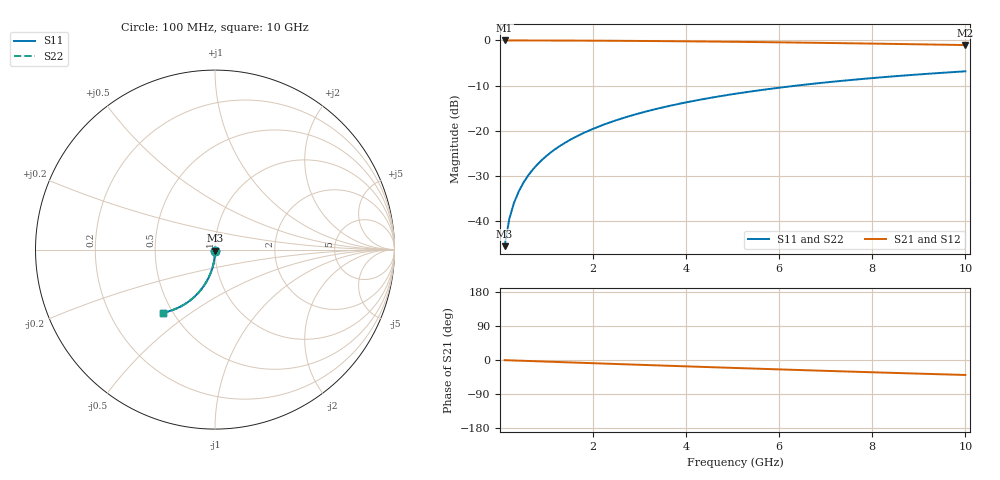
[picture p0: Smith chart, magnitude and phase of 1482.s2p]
# Hz S RI R 50.00
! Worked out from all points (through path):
!   100 points, 100 MHz to 10 GHz, reference 50 ohm
!   highest |S21| = 0.00 dB at 100 MHz (marker M1); lowest = -1.0 dB at 10 GHz (marker M2)
!   group delay of S21, straight-line fit = 11 ps
!   lowest |S11| = -45.5 dB at 100 MHz (marker M3), VSWR 1.01, Z = 50 - j0.53 ohm
!   |S11| at or under -10 dB: start of sweep to 6.367 GHz
!   |S22| runs from -45.5 to -6.8 dB; largest |S21 - S12| = 0
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1e8  0.000317 -0.0053  0.9996 -0.00739  0.9996 -0.00739  0.000317 -0.0053
2e8  0.000196 -0.0106  0.9995 -0.0148  0.9995 -0.0148  0.000196 -0.0106
3e8  -4.53e-06 -0.0159  0.9992 -0.0222  0.9992 -0.0222  -4.53e-06 -0.0159
4e8  -0.000283 -0.0212  0.9989 -0.0296  0.9989 -0.0296  -0.000283 -0.0212
5e8  -0.00064 -0.0265  0.9986 -0.0369  0.9986 -0.0369  -0.00064 -0.0265
6e8  -0.00108 -0.0318  0.9981 -0.0443  0.9981 -0.0443  -0.00108 -0.0318
7e8  -0.00159 -0.037  0.9976 -0.0517  0.9976 -0.0517  -0.00159 -0.037
8e8  -0.00218 -0.0423  0.9969 -0.059  0.9969 -0.059  -0.00218 -0.0423
9e8  -0.00285 -0.0475  0.9962 -0.0664  0.9962 -0.0664  -0.00285 -0.0475
1.1e9  -0.00442 -0.058  0.9946 -0.081  0.9946 -0.081  -0.00442 -0.058
1.4e9  -0.00734 -0.0736  0.9915 -0.1029  0.9915 -0.1029  -0.00734 -0.0736
1.8e9  -0.0123 -0.0941  0.9862 -0.1318  0.9862 -0.1318  -0.0123 -0.0941
2.1e9  -0.0168 -0.1092  0.9815 -0.1532  0.9815 -0.1532  -0.0168 -0.1092
2.5e9  -0.0238 -0.129  0.9741 -0.1814  0.9741 -0.1814  -0.0238 -0.129
2.9e9  -0.0319 -0.1482  0.9655 -0.2091  0.9655 -0.2091  -0.0319 -0.1482
3.4e9  -0.0435 -0.1714  0.9532 -0.2428  0.9532 -0.2428  -0.0435 -0.1714
4.2e9  -0.0652 -0.2063  0.9301 -0.2946  0.9301 -0.2946  -0.0652 -0.2063
5.1e9  -0.0937 -0.2417  0.8997 -0.3492  0.8997 -0.3492  -0.0937 -0.2417
5.9e9  -0.122 -0.2694  0.8694 -0.394  0.8694 -0.394  -0.122 -0.2694
6.7e9  -0.1525 -0.2933  0.8366 -0.4351  0.8366 -0.4351  -0.1525 -0.2933
8.4e9  -0.222 -0.3313  0.761 -0.51  0.761 -0.51  -0.222 -0.3313
1e10  -0.2897 -0.3514  0.6862 -0.5655  0.6862 -0.5655  -0.2897 -0.3514
